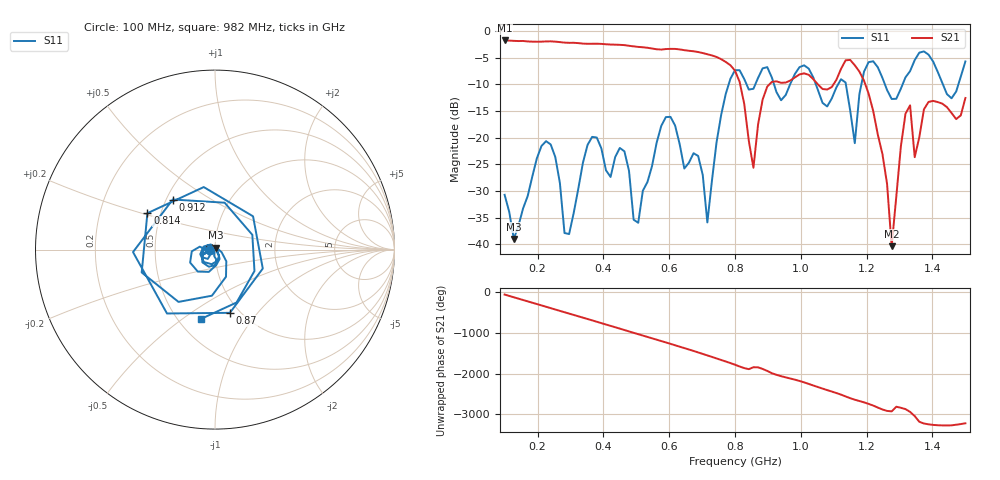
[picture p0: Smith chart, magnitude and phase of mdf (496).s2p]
! NanoVNA-App
! Date: 2025-09-25 15:42:17
! Start: 100MHz Stop: 1,5GHz Points: 101
! S-Parameter data: F S11 S21 S12 S22
# Hz S RI R 50
!  Frequency  S11_Real  S11_Imag  S21_Real  S21_Imag  S12_Real  S12_Imag  S22_Real  S22_Imag
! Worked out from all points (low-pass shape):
!   101 points, 100 MHz to 1.5 GHz, reference 50 ohm
!   highest |S21| = -1.80 dB at 100 MHz (marker M1); lowest = -40.4 dB at 1.276 GHz (marker M2)
!   |S21| within 3 dB of the highest: start of sweep to 739.3 MHz
!   lowest |S11| = -39.0 dB at 128 MHz (marker M3), VSWR 1.02, Z = 50.3 + j1.08 ohm
!   |S11| at or under -10 dB: start of sweep to 780.9 MHz; 1.045 GHz to 1.114 GHz (68.09 MHz wide, 6.31 % of centre); 1.255 GHz to 1.31 GHz (54.25 MHz wide, 4.23 % of centre) (the widest 3 of 7)
!   S12 and S22 are empty: the file has one direction only
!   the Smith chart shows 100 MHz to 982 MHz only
!   S11 on the Smith chart (normalised r, x): 100 MHz: 0.94, -0.01; 814 MHz: 0.42, +0.21; 870 MHz: 0.90, -0.73; 912 MHz: 0.54, +0.35; 982 MHz: 0.64, -0.59
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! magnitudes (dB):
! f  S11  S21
! 100 MHz  -30.7  -1.8
! 128 MHz  -39.0  -1.9
! 212 MHz  -21.6  -2.0
! 282 MHz  -37.9  -2.2
! 338 MHz  -24.7  -2.4
! 464 MHz  -22.6  -2.7
! 506 MHz  -36.0  -3.0
! 576 MHz  -17.8  -3.5
! 688 MHz  -23.4  -4.0
! 716 MHz  -35.9  -4.4
! 800 MHz  -7.4  -7.5
! 814 MHz  -7.4  -9.6
! 856 MHz  -10.9  -25.7
! 870 MHz  -8.8  -17.6
! 912 MHz  -8.8  -9.6
! 982 MHz  -8.1  -8.7
! 1.038 GHz  -8.8  -9.1
! 1.164 GHz  -21.0  -6.5
! 1.192 GHz  -7.6  -9.3
! 1.276 GHz  -12.8  -40.4
! 1.318 GHz  -8.7  -15.5
! 1.5 GHz  -5.7  -12.6
